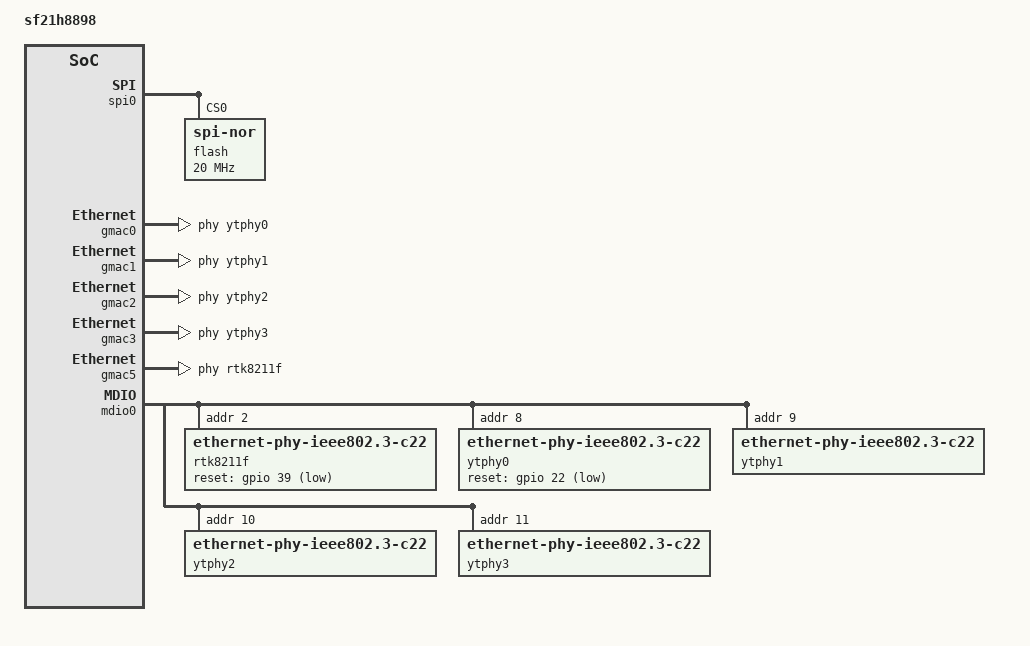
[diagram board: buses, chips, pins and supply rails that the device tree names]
// SPDX-License-Identifier: GPL-2.0

/dts-v1/;
#include "sf21h8898_fullmask.dtsi"

/ {
	model = "sf21h8898";
	compatible = "siflower,sf21h8898";

	chosen {
		stdout-path = &uart1;
		tick-timer = &timer0;
	};

};

&uart1 {
	u-boot,dm-pre-reloc;
};

&watchdog {
	u-boot,dm-pre-reloc;
};

&timer0 {
	u-boot,dm-pre-reloc;
};

&spi0 {
	status = "okay";

	flash@0 {
		compatible = "jedec,spi-nor";
		reg = <0>;
		spi-max-frequency = <20000000>;
		spi-tx-bus-width = <4>;
		spi-rx-bus-width = <4>;
		#address-cells = <1>;
		#size-cells = <1>;
	};
};

&i2c0 {
	status = "disabled";

	eeprom@0 {
		compatible = "i2c-eeprom";
		reg = <0x57>;
		u-boot,i2c-offset-len = <2>;
	};
};

&gmac0 {
	status = "okay";
	local-mac-address = [10 23 45 67 89 ab];
	phy-handle = <&ytphy0>;
};

&gmac1 {
	status = "okay";
	local-mac-address = [10 23 45 67 89 ab];
	phy-handle = <&ytphy1>;
};

&gmac2 {
	status = "okay";
	local-mac-address = [10 23 45 67 89 ab];
	phy-handle = <&ytphy2>;
};

&gmac3 {
	status = "okay";
	local-mac-address = [10 23 45 67 89 ab];
	phy-handle = <&ytphy3>;
};

&gmac5 {
	status = "okay";
	local-mac-address = [10 23 45 67 89 ab];
	tx-internal-delay-ps = <6762>;
	rx-internal-delay-ps = <1960>;
	phy-handle = <&rtk8211f>;
};

&mdio0 {
	rtk8211f: ethernet-phy@2 {
		compatible = "ethernet-phy-ieee802.3-c22";
		reg = <0x2>;
		reset-gpios = <&gpio 39 GPIO_ACTIVE_LOW>;
		reset-assert-us = <10000>;
		reset-deassert-us = <100000>;
	};

	ytphy0: ethernet-phy@8 {
		compatible = "ethernet-phy-ieee802.3-c22";
		reg = <0x8>;
		reset-gpios = <&gpio 22 GPIO_ACTIVE_LOW>;
		reset-assert-us = <10000>;
		reset-deassert-us = <100000>;
	};

	ytphy1: ethernet-phy@9 {
		compatible = "ethernet-phy-ieee802.3-c22";
		reg = <0x9>;
	};

	ytphy2: ethernet-phy@a {
		compatible = "ethernet-phy-ieee802.3-c22";
		reg = <0xa>;
	};

	ytphy3: ethernet-phy@b {
		compatible = "ethernet-phy-ieee802.3-c22";
		reg = <0xb>;
	};
};

&xpcs0 {
	enable;
};

&xpcs1 {
	enable;
};
